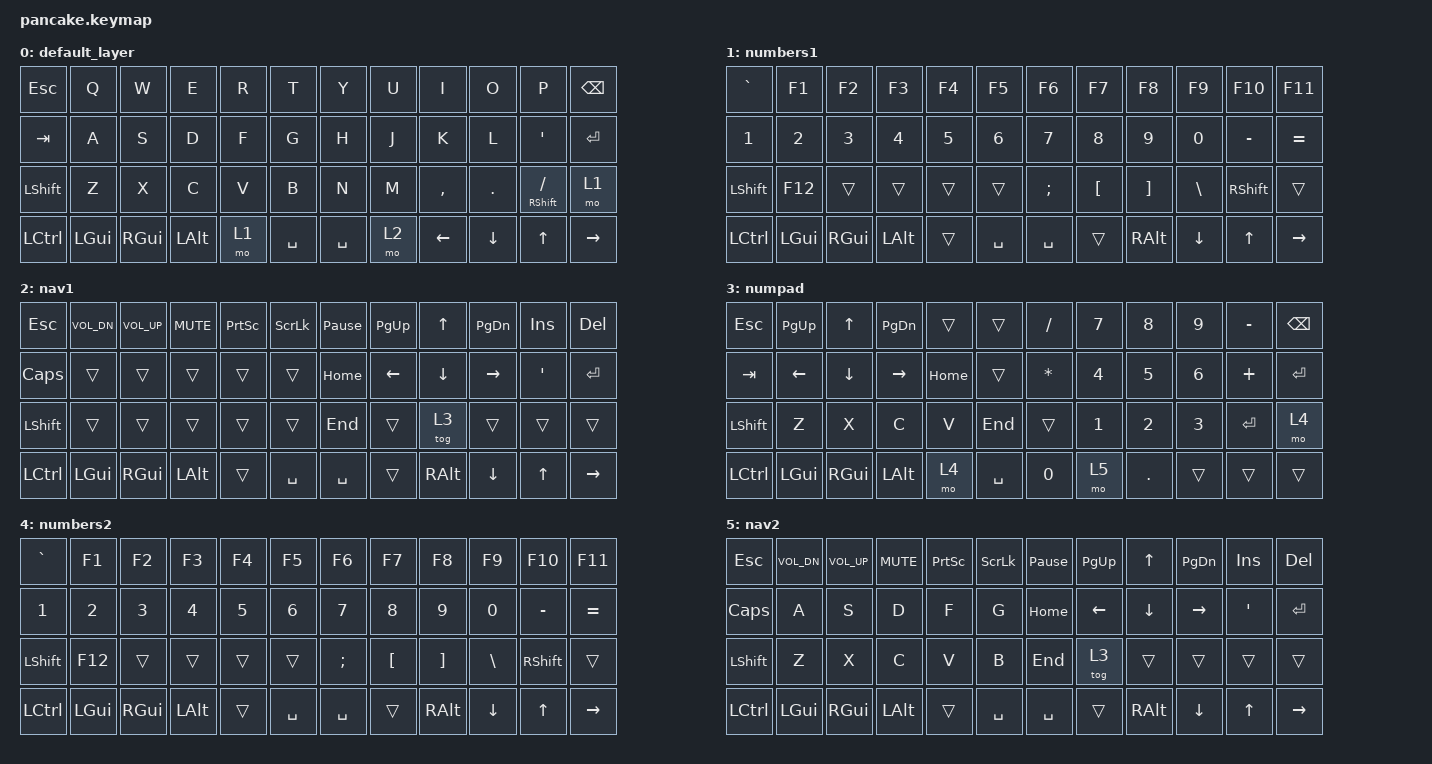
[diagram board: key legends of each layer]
/*
 * Copyright (c) 2020 The ZMK Contributors
 *
 * SPDX-License-Identifier: MIT
 */
 
#include <behaviors.dtsi>
#include <dt-bindings/zmk/keys.h>
#include <dt-bindings/zmk/bt.h>
#include <dt-bindings/zmk/outputs.h>


#define default_layer 0
#define numbers1      1
#define nav1          2
#define numpad        3
#define numbers2      4
#define nav2          5


/ {
	keymap {
		compatible = "zmk,keymap";

		default_layer {
			bindings = <
	&kp ESC   &kp Q    &kp W    &kp E     &kp R  &kp T  &kp Y     &kp U  &kp I     &kp O    &kp P    &kp BSPC
	&kp TAB   &kp A    &kp S    &kp D     &kp F  &kp G  &kp H     &kp J  &kp K     &kp L    &kp SQT  &kp RET
	&kp LSHFT &kp Z    &kp X    &kp C     &kp V  &kp B  &kp N     &kp M  &kp COMMA &kp DOT  &mt RSHFT FSLH &mo 1
	&kp LCTRL &kp LGUI &kp RGUI &kp LALT &mo 1 &kp SPACE &kp SPACE &mo 2   &kp LEFT  &kp DOWN &kp UP   &kp RIGHT
			>;
		};
    
    numbers1 {
			bindings = <
	&kp GRAVE &kp F1   &kp F2   &kp F3    &kp F4 &kp F5 &kp F6    &kp F7 &kp F8    &kp F9   &kp F10   &kp F11
	&kp N1    &kp N2   &kp N3   &kp N4    &kp N5 &kp N6 &kp N7    &kp N8 &kp N9    &kp N0   &kp MINUS  &kp EQUAL
	&kp LSHFT &kp F12    &trans    &trans     &trans  &trans  &kp SEMI     &kp LBKT  &kp RBKT &kp BSLH  &kp RSHFT &trans
	&kp LCTRL &kp LGUI &kp RGUI &kp LALT &trans &kp SPACE &kp SPACE &trans   &kp RALT  &kp DOWN &kp UP   &kp RIGHT
			>;
		};
    
    nav1 {
			bindings = <
	&kp ESC    &kp K_VOL_DN    &kp K_VOL_UP    &kp K_MUTE     &kp PSCRN  &kp SLCK  &kp PAUSE_BREAK     &kp PG_UP  &kp UP     &kp PG_DN    &kp INS    &kp DEL
	&kp CAPS   &trans    &trans    &trans     &trans  &trans  &kp HOME     &kp LEFT &kp DOWN  &kp RIGHT    &kp SQT  &kp RET
	&kp LSHFT &trans    &trans    &trans     &trans  &trans  &kp END     &trans  &tog 3 &trans  &trans &trans
	&kp LCTRL &kp LGUI &kp RGUI &kp LALT &trans &kp SPACE &kp SPACE &trans   &kp RALT  &kp DOWN &kp UP   &kp RIGHT
			>;
		};
    
    numpad {
			bindings = <
	&kp ESC   &kp PG_UP  &kp UP     &kp PG_DN &trans  &trans &kp FSLH  &kp N7  &kp N8 &kp N9    &kp MINUS    &kp BSPC
	&kp TAB   &kp LEFT &kp DOWN  &kp RIGHT    &kp HOME  &trans  &kp ASTERISK &kp N4  &kp N5     &kp N6 &kp PLUS  &kp RET
	&kp LSHFT &kp Z    &kp X    &kp C     &kp V  &kp END  &trans     &kp N1  &kp N2 &kp N3  &kp RET &mo 4
	&kp LCTRL &kp LGUI &kp RGUI &kp LALT &mo 4 &kp SPACE &kp N0 &mo 5   &kp DOT  &trans &trans   &trans
			>;
		};
    
    numbers2 {
			bindings = <
	&kp GRAVE &kp F1   &kp F2   &kp F3    &kp F4 &kp F5 &kp F6    &kp F7 &kp F8    &kp F9   &kp F10   &kp F11
	&kp N1    &kp N2   &kp N3   &kp N4    &kp N5 &kp N6 &kp N7    &kp N8 &kp N9    &kp N0   &kp MINUS  &kp EQUAL
	&kp LSHFT &kp F12    &trans    &trans     &trans  &trans  &kp SEMI     &kp LBKT  &kp RBKT &kp BSLH  &kp RSHFT &trans
	&kp LCTRL &kp LGUI &kp RGUI &kp LALT &trans &kp SPACE &kp SPACE &trans   &kp RALT  &kp DOWN &kp UP   &kp RIGHT
			>;
		};
    
   nav2 {
			bindings = <
	&kp ESC   &kp K_VOL_DN    &kp K_VOL_UP    &kp K_MUTE     &kp PSCRN  &kp SLCK  &kp PAUSE_BREAK     &kp PG_UP  &kp UP     &kp PG_DN    &kp INS    &kp DEL
	&kp CAPS   &kp A    &kp S    &kp D     &kp F  &kp G  &kp HOME     &kp LEFT &kp DOWN  &kp RIGHT    &kp SQT  &kp RET
	&kp LSHFT &kp Z    &kp X    &kp C     &kp V  &kp B  &kp END     &tog 3  &trans &trans  &trans &trans
	&kp LCTRL &kp LGUI &kp RGUI &kp LALT &trans &kp SPACE &kp SPACE &trans   &kp RALT  &kp DOWN &kp UP   &kp RIGHT
			>;
		};
	};
};
